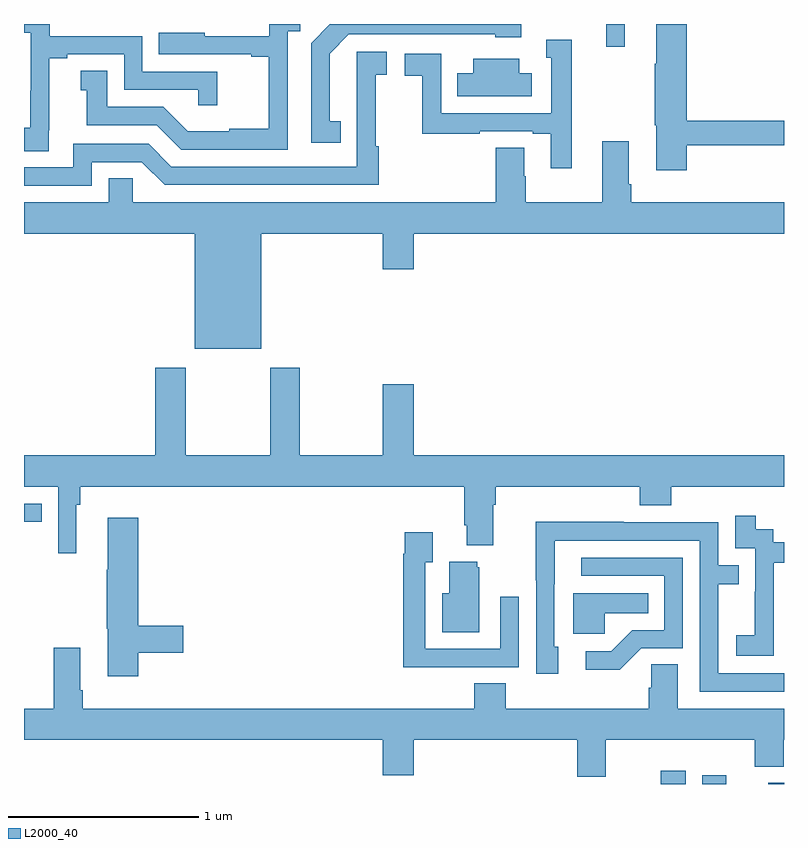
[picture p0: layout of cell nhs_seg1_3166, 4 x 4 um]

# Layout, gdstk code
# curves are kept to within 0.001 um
import gdstk
lib = gdstk.Library(unit=1e-6, precision=1e-09)
def R(c, l, rs):  # rectangles x0, y0, x1, y1
    for r in rs: c.add(gdstk.rectangle(r[:2], r[2:], *l))
def P(c, l, *ps):  # polygons
    for p in ps: c.add(gdstk.Polygon(p, *l))
L2000_40 = (2000, 40)

nhs_seg1_3166 = lib.new_cell('nhs_seg1_3166')
R(nhs_seg1_3166, L2000_40, [(286.352,518.199,286.483,518.269), (286.571,518.199,286.696,518.245), (286.918,518.199,287,518.206), (283,519.579,283.094,519.675), (286.065,522.078,286.162,522.199)])
P(nhs_seg1_3166, L2000_40, [(286.487,521.562),(287,521.562),(287,521.69),(286.487,521.69),(286.487,522.199),(286.328,522.199),(286.328,521.99),(286.321,521.99),(286.321,521.667),(286.328,521.667),(286.328,521.43),(286.487,521.43)],
  [(284.666,521.687),(284.608,521.687),(284.608,522.043),(284.709,522.144),(285.48,522.144),(285.48,522.128),(285.616,522.128),(285.616,522.199),(284.61,522.199),(284.61,522.197),(284.511,522.098),(284.511,521.574),(284.666,521.574)],
  [(283.13,521.641),(283.132,521.641),(283.132,522.019),(283.228,522.019),(283.228,522.039),(283.527,522.039),(283.527,521.853),(283.917,521.853),(283.917,521.772),(284.018,521.772),(284.018,521.949),(283.623,521.949),(283.623,522.135),(283.136,522.135),(283.136,522.199),(283,522.199),(283,522.153),(283.035,522.153),(283.035,521.849),(283.034,521.849),(283.034,521.652),(283,521.652),(283,521.53),(283.13,521.53)],
  [(284.388,522.161),(284.453,522.161),(284.453,522.199),(284.292,522.199),(284.292,522.135),(283.951,522.135),(283.951,522.154),(283.708,522.154),(283.708,522.039),(284.195,522.039),(284.195,522.027),(284.287,522.027),(284.287,521.647),(284.081,521.647),(284.081,521.635),(283.862,521.635),(283.734,521.763),(283.438,521.763),(283.438,521.954),(283.298,521.954),(283.298,521.851),(283.331,521.851),(283.331,521.667),(283.698,521.667),(283.827,521.538),(284.388,521.538)],
  [(285.883,522.115),(285.749,522.115),(285.749,522.021),(285.774,522.021),(285.774,521.73),(285.195,521.73),(285.195,522.042),(285.003,522.042),(285.003,521.926),(285.097,521.926),(285.097,521.621),(285.398,521.621),(285.398,521.634),(285.677,521.634),(285.677,521.621),(285.773,521.621),(285.773,521.439),(285.883,521.439)],
  [(283.356,521.472),(283.62,521.472),(283.74,521.352),(284.867,521.352),(284.867,521.555),(284.85,521.555),(284.85,521.931),(284.908,521.931),(284.908,522.052),(284.75,522.052),(284.751,521.448),(283.776,521.448),(283.656,521.568),(283.26,521.568),(283.26,521.445),(283,521.445),(283,521.349),(283.356,521.349)],
  [(285.673,521.941),(285.607,521.941),(285.607,522.016),(285.365,522.016),(285.365,521.941),(285.28,521.941),(285.28,521.819),(285.673,521.819)],
  [(284.248,521.096),(284.888,521.096),(284.888,520.908),(285.052,520.908),(285.052,521.096),(287,521.096),(287,521.26),(286.196,521.26),(286.196,521.356),(286.183,521.356),(286.183,521.581),(286.043,521.581),(286.043,521.26),(285.642,521.26),(285.642,521.399),(285.634,521.399),(285.634,521.549),(285.482,521.549),(285.482,521.26),(283.572,521.26),(283.572,521.387),(283.445,521.387),(283.445,521.26),(283,521.26),(283,521.096),(283.898,521.096),(283.898,520.49),(284.248,520.49)],
  [(283.276,519.668),(283.295,519.668),(283.295,519.764),(285.317,519.764),(285.317,519.562),(285.329,519.562),(285.329,519.455),(285.469,519.455),(285.469,519.668),(285.482,519.668),(285.482,519.764),(286.241,519.764),(286.241,519.665),(286.406,519.665),(286.406,519.764),(287,519.764),(287,519.928),(285.052,519.928),(285.052,520.303),(284.888,520.303),(284.888,519.928),(284.451,519.928),(284.451,520.39),(284.296,520.39),(284.296,519.928),(283.851,519.928),(283.851,520.39),(283.691,520.39),(283.691,519.928),(283,519.928),(283,519.764),(283.179,519.764),(283.179,519.414),(283.276,519.414)],
  [(286.947,519.079),(286.946,519.079),(286.946,519.363),(287,519.363),(287,519.471),(286.944,519.471),(286.944,519.54),(286.852,519.54),(286.852,519.61),(286.743,519.61),(286.743,519.441),(286.848,519.441),(286.848,519.212),(286.847,519.212),(286.847,518.983),(286.749,518.983),(286.749,518.873),(286.947,518.873)],
  [(283.601,518.89),(283.837,518.89),(283.837,519.032),(283.601,519.032),(283.601,519.601),(283.442,519.601),(283.442,519.326),(283.435,519.326),(283.435,519.015),(283.442,519.015),(283.442,518.766),(283.601,518.766)],
  [(287,518.781),(286.653,518.781),(286.653,519.25),(286.763,519.25),(286.763,519.351),(286.653,519.351),(286.653,519.576),(286.157,519.576),(286.157,519.578),(285.694,519.578),(285.694,519.271),(285.696,519.271),(285.696,518.778),(285.811,518.778),(285.811,518.922),(285.792,518.922),(285.792,519.25),(285.793,519.25),(285.793,519.48),(286.557,519.48),(286.557,518.685),(287,518.685)],
  [(285.287,518.814),(285.603,518.814),(285.603,519.184),(285.507,519.184),(285.507,518.91),(285.111,518.91),(285.111,519.367),(285.151,519.367),(285.151,519.523),(285.003,519.523),(285.003,519.41),(284.995,519.41),(284.995,518.813),(285.287,518.813)],
  [(286.248,518.913),(286.467,518.913),(286.467,519.39),(285.933,519.39),(285.933,519.294),(286.371,519.294),(286.371,519.009),(286.202,519.009),(286.091,518.898),(285.957,518.898),(285.957,518.801),(286.135,518.801)],
  [(285.397,519.339),(285.386,519.339),(285.386,519.37),(285.239,519.37),(285.239,519.202),(285.2,519.202),(285.2,518.999),(285.397,518.999)],
  [(286.056,519.098),(286.286,519.098),(286.286,519.202),(285.89,519.202),(285.89,518.99),(286.056,518.99)],
  [(286.063,518.432),(286.847,518.432),(286.847,518.291),(286.999,518.291),(286.999,518.432),(287,518.432),(287,518.596),(286.441,518.596),(286.441,518.828),(286.302,518.828),(286.302,518.705),(286.289,518.705),(286.289,518.596),(285.536,518.596),(285.536,518.729),(285.371,518.729),(285.371,518.596),(283.31,518.596),(283.31,518.692),(283.297,518.692),(283.297,518.917),(283.157,518.917),(283.157,518.596),(283,518.596),(283,518.432),(284.888,518.432),(284.888,518.244),(285.052,518.244),(285.052,518.432),(285.911,518.432),(285.911,518.238),(286.063,518.238)])

lib.write_gds('nhs_seg1_3166.gds')
